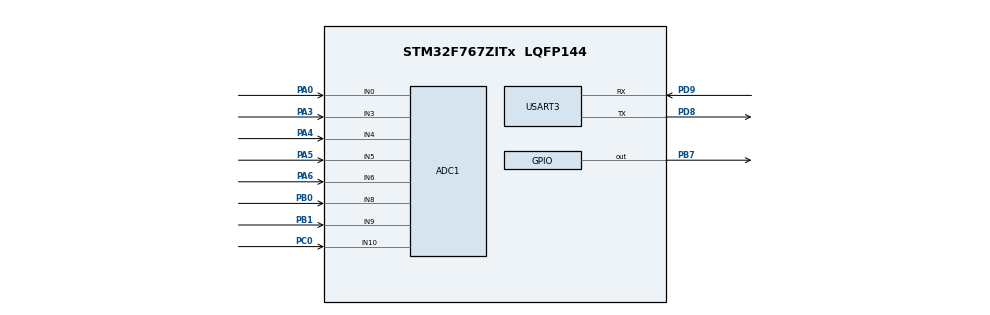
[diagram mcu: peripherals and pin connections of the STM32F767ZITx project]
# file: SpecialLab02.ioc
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ADC1.Channel-0\#ChannelRegularConversion=ADC_CHANNEL_0
ADC1.Channel-1\#ChannelRegularConversion=ADC_CHANNEL_3
ADC1.Channel-2\#ChannelRegularConversion=ADC_CHANNEL_4
ADC1.Channel-3\#ChannelRegularConversion=ADC_CHANNEL_5
ADC1.Channel-4\#ChannelRegularConversion=ADC_CHANNEL_6
ADC1.Channel-5\#ChannelRegularConversion=ADC_CHANNEL_8
ADC1.Channel-6\#ChannelRegularConversion=ADC_CHANNEL_9
ADC1.Channel-7\#ChannelRegularConversion=ADC_CHANNEL_10
ADC1.ClockPrescaler=ADC_CLOCK_SYNC_PCLK_DIV8
ADC1.ContinuousConvMode=ENABLE
ADC1.DMAContinuousRequests=ENABLE
ADC1.EOCSelection=ADC_EOC_SINGLE_CONV
ADC1.NbrOfConversion=8
ADC1.NbrOfConversionFlag=1
ADC1.Rank-0\#ChannelRegularConversion=1
ADC1.Rank-1\#ChannelRegularConversion=2
ADC1.Rank-2\#ChannelRegularConversion=3
ADC1.Rank-3\#ChannelRegularConversion=4
ADC1.Rank-4\#ChannelRegularConversion=5
ADC1.Rank-5\#ChannelRegularConversion=6
ADC1.Rank-6\#ChannelRegularConversion=7
ADC1.Rank-7\#ChannelRegularConversion=8
ADC1.SamplingTime-0\#ChannelRegularConversion=ADC_SAMPLETIME_15CYCLES
ADC1.SamplingTime-1\#ChannelRegularConversion=ADC_SAMPLETIME_15CYCLES
ADC1.SamplingTime-2\#ChannelRegularConversion=ADC_SAMPLETIME_15CYCLES
ADC1.SamplingTime-3\#ChannelRegularConversion=ADC_SAMPLETIME_15CYCLES
ADC1.SamplingTime-4\#ChannelRegularConversion=ADC_SAMPLETIME_15CYCLES
ADC1.SamplingTime-5\#ChannelRegularConversion=ADC_SAMPLETIME_15CYCLES
ADC1.SamplingTime-6\#ChannelRegularConversion=ADC_SAMPLETIME_15CYCLES
ADC1.SamplingTime-7\#ChannelRegularConversion=ADC_SAMPLETIME_15CYCLES
ADC1.ScanConvMode=ADC_SCAN_ENABLE
ADC1.master=1
CORTEX_M7.default_mode_Activation=1
Dma.ADC1.0.Direction=DMA_PERIPH_TO_MEMORY
Dma.ADC1.0.FIFOMode=DMA_FIFOMODE_DISABLE
Dma.ADC1.0.Instance=DMA2_Stream0
Dma.ADC1.0.MemDataAlignment=DMA_MDATAALIGN_WORD
Dma.ADC1.0.MemInc=DMA_MINC_ENABLE
Dma.ADC1.0.Mode=DMA_CIRCULAR
Dma.ADC1.0.PeriphDataAlignment=DMA_PDATAALIGN_WORD
Dma.ADC1.0.PeriphInc=DMA_PINC_DISABLE
Dma.ADC1.0.Priority=DMA_PRIORITY_LOW
Dma.Request0=ADC1
Mcu.Family=STM32F7
Mcu.Name=STM32F767ZITx
Mcu.Package=LQFP144
NVIC.DMA2_Stream0_IRQn=true\:1\:0\:true\:false\:true\:false\:true\:true
NVIC.PriorityGroup=NVIC_PRIORITYGROUP_2
NVIC.USART3_IRQn=true\:1\:0\:true\:false\:true\:true\:true\:true
PA0/WKUP.Signal=ADCx_IN0
PA3.Signal=ADCx_IN3
PA4.Signal=ADCx_IN4
PA5.Signal=ADCx_IN5
PA6.Signal=ADCx_IN6
PB0.Signal=ADCx_IN8
PB1.Signal=ADCx_IN9
PB7.Signal=GPIO_Output
PC0.Signal=ADCx_IN10
PD8.Mode=Asynchronous
PD8.Signal=USART3_TX
PD9.Mode=Asynchronous
PD9.Signal=USART3_RX
ProjectManager.HeapSize=0x200
ProjectManager.StackSize=0x400
ProjectManager.TargetToolchain=STM32CubeIDE
RCC.HSE_VALUE=25000000
RCC.HSI_VALUE=16000000
RCC.LSE_VALUE=32768
RCC.USBFreq_Value=96000000
RCC.VCOOutputFreq_Value=192000000
SH.ADCx_IN0.0=ADC1_IN0,IN0
SH.ADCx_IN10.0=ADC1_IN10,IN10
SH.ADCx_IN3.0=ADC1_IN3,IN3
SH.ADCx_IN4.0=ADC1_IN4,IN4
SH.ADCx_IN5.0=ADC1_IN5,IN5
SH.ADCx_IN6.0=ADC1_IN6,IN6
SH.ADCx_IN8.0=ADC1_IN8,IN8
SH.ADCx_IN9.0=ADC1_IN9,IN9
USART3.VirtualMode-Asynchronous=VM_ASYNC
board=custom

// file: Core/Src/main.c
/* USER CODE BEGIN Header */
/**
  ******************************************************************************
  * @file           : main.c
  * @brief          : Main program body
  ******************************************************************************
  * @attention
  *
  * Copyright (c) 2024 STMicroelectronics.
  * All rights reserved.
  *
  * This software is licensed under terms that can be found in the LICENSE file
  * in the root directory of this software component.
  * If no LICENSE file comes with this software, it is provided AS-IS.
  *
  ******************************************************************************
  */
/* USER CODE END Header */
#include "main.h"
#include "adc.h"
#include "dma.h"
#include "usart.h"
#include "gpio.h"

/* USER CODE BEGIN Includes */
#include "string.h"
#include "stdio.h"
/* USER CODE END Includes */

void SystemClock_Config(void);
static void MPU_Config(void);

/* USER CODE BEGIN 0 */
uint32_t adc_val[8];
uint32_t led = 0;
/* USER CODE END 0 */

int main(void)
{

  /* MPU Configuration--------------------------------------------------------*/
  MPU_Config();

  /* MCU Configuration--------------------------------------------------------*/

  /* Reset of all peripherals, Initializes the Flash interface and the Systick. */
  HAL_Init();

  /* Configure the system clock */
  SystemClock_Config();

  /* Initialize all configured peripherals */
  MX_GPIO_Init();
  MX_DMA_Init();
  MX_ADC1_Init();
  MX_USART3_UART_Init();
  /* USER CODE BEGIN 2 */
  HAL_ADC_Start_DMA(&hadc1, adc_val, 8);

  /* USER CODE END 2 */

  /* Infinite loop */
  while (1)
  {

    /* USER CODE BEGIN 3 */
	  HAL_GPIO_WritePin(GPIOB, GPIO_PIN_7, led);
	  char txt[200];
	  sprintf(txt,
		"Resistor_1 : ch1 %#010X VIn %.2f | ch2 %#010X VIn %.2f | ch3 %#010X VIn %.2f | ch4 %#010X VIn %.2f\n\rResistor_2 : ch1 %#010X VIn %.2f | ch2 %#010X VIn %.2f | ch3 %#010X VIn %.2f | ch4 %#010X VIn %.2f \n\r",
		adc_val[0], adc_val[0] / 4095.0 * 3.3,
		adc_val[1], adc_val[1] / 4095.0 * 3.3,
		adc_val[2], adc_val[2] / 4095.0 * 3.3,
		adc_val[3],adc_val[3] / 4095.0 * 3.3,
		adc_val[4],adc_val[4] / 4095.0 * 3.3,
		adc_val[5],adc_val[5] / 4095.0 * 3.3,
		adc_val[6],adc_val[6] / 4095.0 * 3.3,
		adc_val[7],adc_val[7] / 4095.0 * 3.3);
	  HAL_UART_Transmit(&huart3, (uint8_t*) txt, strlen(txt), 1000);

	  HAL_Delay(100);

  }
  /* USER CODE END 3 */
}

void SystemClock_Config(void)
{
  RCC_OscInitTypeDef RCC_OscInitStruct = {0};
  RCC_ClkInitTypeDef RCC_ClkInitStruct = {0};

  /** Configure the main internal regulator output voltage
  */
  __HAL_RCC_PWR_CLK_ENABLE();
  __HAL_PWR_VOLTAGESCALING_CONFIG(PWR_REGULATOR_VOLTAGE_SCALE3);

  /** Initializes the RCC Oscillators according to the specified parameters
  * in the RCC_OscInitTypeDef structure.
  */
  RCC_OscInitStruct.OscillatorType = RCC_OSCILLATORTYPE_HSI;
  RCC_OscInitStruct.HSIState = RCC_HSI_ON;
  RCC_OscInitStruct.HSICalibrationValue = RCC_HSICALIBRATION_DEFAULT;
  RCC_OscInitStruct.PLL.PLLState = RCC_PLL_NONE;
  if (HAL_RCC_OscConfig(&RCC_OscInitStruct) != HAL_OK)
  {
    Error_Handler();
  }

  /** Initializes the CPU, AHB and APB buses clocks
  */
  RCC_ClkInitStruct.ClockType = RCC_CLOCKTYPE_HCLK|RCC_CLOCKTYPE_SYSCLK
                              |RCC_CLOCKTYPE_PCLK1|RCC_CLOCKTYPE_PCLK2;
  RCC_ClkInitStruct.SYSCLKSource = RCC_SYSCLKSOURCE_HSI;
  RCC_ClkInitStruct.AHBCLKDivider = RCC_SYSCLK_DIV1;
  RCC_ClkInitStruct.APB1CLKDivider = RCC_HCLK_DIV1;
  RCC_ClkInitStruct.APB2CLKDivider = RCC_HCLK_DIV1;

  if (HAL_RCC_ClockConfig(&RCC_ClkInitStruct, FLASH_LATENCY_0) != HAL_OK)
  {
    Error_Handler();
  }
}

/* USER CODE BEGIN 4 */
void HAL_ADC_ConvHalfCpltCallback(ADC_HandleTypeDef* hadc) {
	led = 1;
}

void HAL_ADC_ConvCpltCallback(ADC_HandleTypeDef* hadc) {
	led = 0;
}
/* USER CODE END 4 */

 /* MPU Configuration */

void MPU_Config(void)
{
  MPU_Region_InitTypeDef MPU_InitStruct = {0};

  /* Disables the MPU */
  HAL_MPU_Disable();

  /** Initializes and configures the Region and the memory to be protected
  */
  MPU_InitStruct.Enable = MPU_REGION_ENABLE;
  MPU_InitStruct.Number = MPU_REGION_NUMBER0;
  MPU_InitStruct.BaseAddress = 0x0;
  MPU_InitStruct.Size = MPU_REGION_SIZE_4GB;
  MPU_InitStruct.SubRegionDisable = 0x87;
  MPU_InitStruct.TypeExtField = MPU_TEX_LEVEL0;
  MPU_InitStruct.AccessPermission = MPU_REGION_NO_ACCESS;
  MPU_InitStruct.DisableExec = MPU_INSTRUCTION_ACCESS_DISABLE;
  MPU_InitStruct.IsShareable = MPU_ACCESS_SHAREABLE;
  MPU_InitStruct.IsCacheable = MPU_ACCESS_NOT_CACHEABLE;
  MPU_InitStruct.IsBufferable = MPU_ACCESS_NOT_BUFFERABLE;

  HAL_MPU_ConfigRegion(&MPU_InitStruct);
  /* Enables the MPU */
  HAL_MPU_Enable(MPU_PRIVILEGED_DEFAULT);

}

void Error_Handler(void)
{
  __disable_irq();
  while (1)
  {
  }
}
